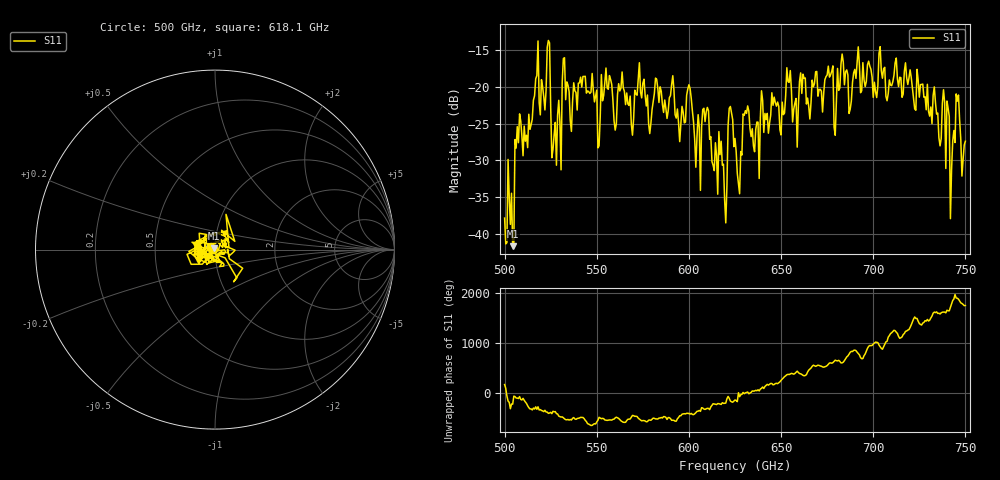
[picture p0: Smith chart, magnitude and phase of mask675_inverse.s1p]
!Created with skrf (http://scikit-rf.org).
# GHz S MA R 50.0
!freq magS11 angS11
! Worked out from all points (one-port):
!   401 points, 500 GHz to 750 GHz, reference 50 ohm
!   lowest |S11| = -41.7 dB at 504.4 GHz (marker M1), VSWR 1.02, Z = 49.5 + j0.667 ohm
!   |S11| at or under -10 dB: start of sweep to end of sweep
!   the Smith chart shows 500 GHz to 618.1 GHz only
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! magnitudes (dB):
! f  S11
! 500 GHz  -37.8
! 504.4 GHz  -41.7
! 506.9 GHz  -25.4
! 511.2 GHz  -27.4
! 516.9 GHz  -18.9
! 523.8 GHz  -13.7
! 526.9 GHz  -26.5
! 531.2 GHz  -19.4
! 562.5 GHz  -20.5
! 593.8 GHz  -23.0
! 600 GHz  -19.7
! 605 GHz  -23.8
! 609.4 GHz  -23.4
! 619.4 GHz  -35.4
! 622.5 GHz  -22.7
! 625 GHz  -27.0
! 627.5 GHz  -34.5
! 630.6 GHz  -23.2
! 636.9 GHz  -24.8
! 656.2 GHz  -24.8
! 683.8 GHz  -16.6
! 687.5 GHz  -23.0
! 691.2 GHz  -16.6
! 718.8 GHz  -19.7
! 739.4 GHz  -31.1
! 743.1 GHz  -27.4
! 745.6 GHz  -21.9
! 750 GHz  -27.4
